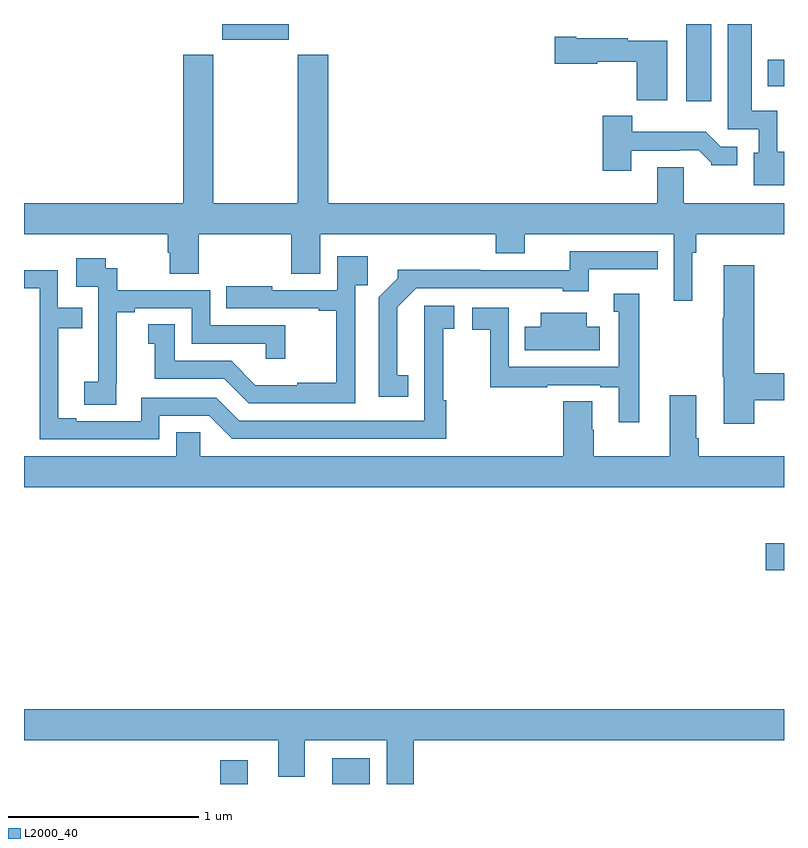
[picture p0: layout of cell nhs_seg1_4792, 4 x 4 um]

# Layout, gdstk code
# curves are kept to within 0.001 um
import gdstk
lib = gdstk.Library(unit=1e-6, precision=1e-09)
def R(c, l, rs):  # rectangles x0, y0, x1, y1
    for r in rs: c.add(gdstk.rectangle(r[:2], r[2:], *l))
def P(c, l, *ps):  # polygons
    for p in ps: c.add(gdstk.Polygon(p, *l))
L2000_40 = (2000, 40)

nhs_seg1_4792 = lib.new_cell('nhs_seg1_4792')
R(nhs_seg1_4792, L2000_40, [(372.032,522.199,372.178,522.325), (372.623,522.199,372.819,522.334), (374.904,523.325,375,523.467), (374.486,525.792,374.617,526.199), (374.915,525.872,375,526.012), (372.044,526.115,372.394,526.199)])
P(nhs_seg1_4792, L2000_40, [(375,525.526),(374.964,525.526),(374.964,525.742),(374.83,525.742),(374.83,526.199),(374.705,526.199),(374.705,525.645),(374.868,525.645),(374.868,525.522),(374.84,525.522),(374.84,525.35),(375,525.35)],
  [(374.386,526.111),(374.178,526.111),(374.178,526.123),(373.906,526.123),(373.906,526.131),(373.794,526.131),(373.794,525.989),(374.016,525.989),(374.016,526.001),(374.224,526.001),(374.224,525.797),(374.386,525.797)],
  [(374.518,524.996),(374.537,524.996),(374.537,525.092),(375,525.092),(375,525.256),(374.473,525.256),(374.473,525.446),(374.333,525.446),(374.333,525.256),(372.602,525.256),(372.602,526.036),(372.442,526.036),(372.442,525.256),(371.997,525.256),(371.997,526.036),(371.837,526.036),(371.837,525.256),(371,525.256),(371,525.092),(371.756,525.092),(371.756,524.994),(371.768,524.994),(371.768,524.884),(371.921,524.884),(371.921,525.092),(372.407,525.092),(372.407,524.884),(372.559,524.884),(372.559,525.092),(373.484,525.092),(373.484,524.993),(373.636,524.993),(373.636,525.092),(374.421,525.092),(374.421,524.742),(374.518,524.742)],
  [(374.197,525.531),(374.453,525.531),(374.453,525.534),(374.552,525.534),(374.616,525.47),(374.616,525.455),(374.755,525.455),(374.755,525.552),(374.667,525.552),(374.589,525.631),(374.2,525.631),(374.2,525.715),(374.045,525.715),(374.045,525.426),(374.197,525.426)],
  [(373.022,524.351),(372.964,524.351),(372.964,524.707),(373.065,524.808),(373.836,524.808),(373.836,524.792),(373.972,524.792),(373.972,524.907),(374.336,524.907),(374.336,525.003),(373.873,525.003),(373.873,524.904),(373.4,524.904),(373.4,524.906),(372.966,524.906),(372.966,524.861),(372.867,524.762),(372.867,524.238),(373.022,524.238)],
  [(372.744,524.825),(372.809,524.825),(372.809,524.977),(372.648,524.977),(372.648,524.799),(372.307,524.799),(372.307,524.818),(372.064,524.818),(372.064,524.703),(372.551,524.703),(372.551,524.691),(372.643,524.691),(372.643,524.311),(372.437,524.311),(372.437,524.299),(372.218,524.299),(372.09,524.427),(371.794,524.427),(371.794,524.618),(371.654,524.618),(371.654,524.515),(371.687,524.515),(371.687,524.331),(372.054,524.331),(372.183,524.202),(372.744,524.202)],
  [(371.486,524.305),(371.488,524.305),(371.488,524.683),(371.584,524.683),(371.584,524.703),(371.883,524.703),(371.883,524.517),(372.273,524.517),(372.273,524.436),(372.374,524.436),(372.374,524.613),(371.979,524.613),(371.979,524.799),(371.492,524.799),(371.492,524.913),(371.43,524.913),(371.43,524.965),(371.274,524.965),(371.274,524.817),(371.391,524.817),(371.391,524.513),(371.39,524.513),(371.39,524.316),(371.316,524.316),(371.316,524.194),(371.486,524.194)],
  [(374.843,524.218),(375,524.218),(375,524.36),(374.843,524.36),(374.843,524.929),(374.684,524.929),(374.684,524.654),(374.677,524.654),(374.677,524.343),(374.684,524.343),(374.684,524.094),(374.843,524.094)],
  [(371.712,524.136),(371.976,524.136),(372.096,524.016),(373.223,524.016),(373.223,524.219),(373.206,524.219),(373.206,524.595),(373.264,524.595),(373.264,524.716),(373.106,524.716),(373.107,524.112),(372.132,524.112),(372.012,524.232),(371.616,524.232),(371.616,524.109),(371.275,524.109),(371.275,524.124),(371.179,524.124),(371.179,524.598),(371.306,524.598),(371.306,524.706),(371.178,524.706),(371.178,524.904),(371,524.904),(371,524.808),(371.082,524.808),(371.082,524.013),(371.712,524.013)],
  [(374.239,524.779),(374.105,524.779),(374.105,524.685),(374.13,524.685),(374.13,524.394),(373.551,524.394),(373.551,524.706),(373.359,524.706),(373.359,524.59),(373.453,524.59),(373.453,524.286),(373.754,524.286),(373.754,524.298),(374.033,524.298),(374.033,524.286),(374.129,524.286),(374.129,524.103),(374.239,524.103)],
  [(374.029,524.605),(373.963,524.605),(373.963,524.68),(373.721,524.68),(373.721,524.605),(373.636,524.605),(373.636,524.483),(374.029,524.483)],
  [(375,523.924),(374.552,523.924),(374.552,524.02),(374.539,524.02),(374.539,524.245),(374.399,524.245),(374.399,523.924),(373.998,523.924),(373.998,524.063),(373.99,524.063),(373.99,524.213),(373.838,524.213),(373.838,523.924),(371.928,523.924),(371.928,524.051),(371.801,524.051),(371.801,523.924),(371,523.924),(371,523.76),(375,523.76)],
  [(373.052,522.428),(375,522.428),(375,522.592),(371,522.592),(371,522.428),(372.338,522.428),(372.338,522.238),(372.478,522.238),(372.478,522.428),(372.908,522.428),(372.908,522.199),(373.052,522.199)])

lib.write_gds('nhs_seg1_4792.gds')
